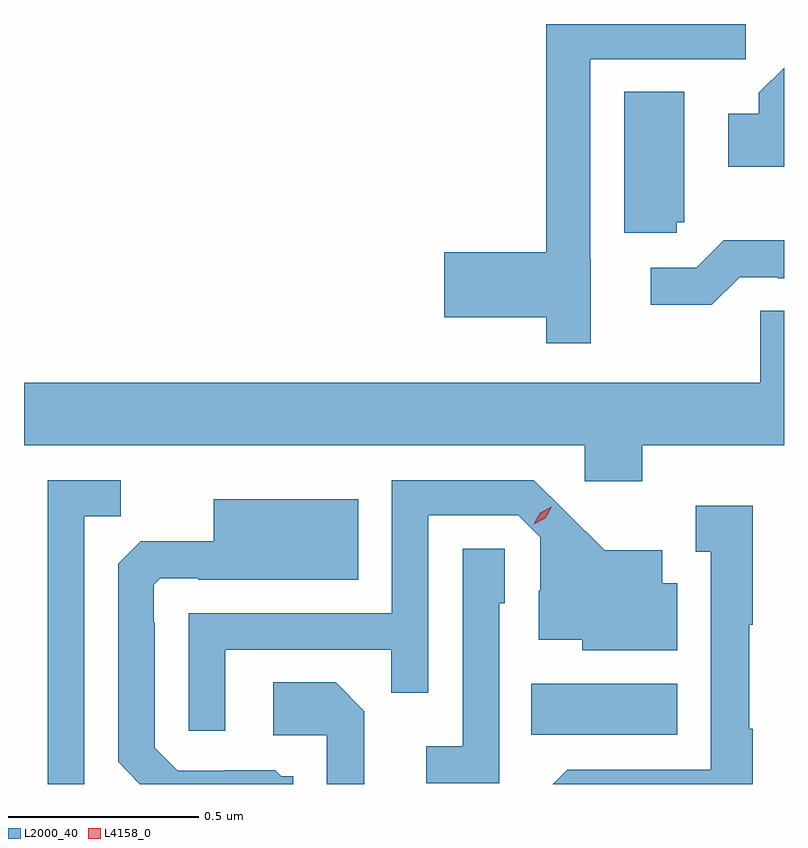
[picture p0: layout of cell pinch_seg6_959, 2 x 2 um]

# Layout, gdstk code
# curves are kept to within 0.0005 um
import gdstk
lib = gdstk.Library(unit=1e-6, precision=1e-09)
def R(c, l, rs):  # rectangles x0, y0, x1, y1
    for r in rs: c.add(gdstk.rectangle(r[:2], r[2:], *l))
def P(c, l, *ps):  # polygons
    for p in ps: c.add(gdstk.Polygon(p, *l))
L2000_40 = (2000, 40)
L4158_0 = (4158, 0)

pinch_seg6_959 = lib.new_cell('pinch_seg6_959')
R(pinch_seg6_959, L2000_40, [(346.714,934.586,347.098,934.72)])
P(pinch_seg6_959, L2000_40, [(346.87,935.838),(346.869,935.838),(346.869,936.363),(347.278,936.363),(347.278,936.456),(346.753,936.456),(346.753,935.855),(346.485,935.855),(346.485,935.684),(346.753,935.684),(346.753,935.616),(346.87,935.616)],
  [(347.379,936.341),(347.312,936.275),(347.312,936.22),(347.232,936.22),(347.232,936.08),(347.379,936.08)],
  [(347.097,935.934),(347.116,935.934),(347.116,936.278),(346.958,936.278),(346.958,935.907),(347.097,935.907)],
  [(347.262,935.79),(347.362,935.79),(347.362,935.787),(347.379,935.787),(347.379,935.887),(347.221,935.887),(347.148,935.814),(347.028,935.814),(347.028,935.717),(347.189,935.717)],
  [(347.006,935.348),(347.379,935.348),(347.379,935.702),(347.316,935.702),(347.316,935.512),(345.379,935.512),(345.379,935.348),(346.854,935.348),(346.854,935.253),(347.006,935.253)],
  [(345.537,935.161),(345.633,935.161),(345.633,935.256),(345.441,935.256),(345.441,934.456),(345.537,934.456)],
  [(345.909,934.809),(346.345,934.809),(346.345,934.696),(346.443,934.696),(346.443,935.163),(346.68,935.163),(346.737,935.106),(346.737,934.964),(346.733,934.964),(346.733,934.835),(346.848,934.835),(346.848,934.808),(347.098,934.808),(347.098,934.984),(347.059,934.984),(347.059,935.071),(346.907,935.071),(346.72,935.256),(346.347,935.256),(346.347,934.905),(345.813,934.905),(345.813,934.596),(345.909,934.596)],
  [(346.087,934.476),(346.056,934.476),(346.04,934.492),(345.906,934.492),(345.906,934.491),(345.783,934.491),(345.723,934.551),(345.723,934.88),(345.72,934.88),(345.72,934.98),(345.738,934.998),(345.838,934.998),(345.838,934.994),(346.258,934.994),(346.258,935.206),(345.878,935.206),(345.878,935.095),(345.686,935.095),(345.627,935.036),(345.627,934.514),(345.684,934.456),(346.087,934.456)],
  [(347.297,934.601),(347.287,934.601),(347.287,934.875),(347.297,934.875),(347.297,935.188),(347.147,935.188),(347.147,935.067),(347.186,935.067),(347.186,934.494),(346.809,934.494),(346.771,934.456),(347.297,934.456)],
  [(346.629,934.932),(346.644,934.932),(346.644,935.075),(346.533,935.075),(346.533,934.555),(346.437,934.555),(346.437,934.458),(346.629,934.458)],
  [(346.275,934.648),(346.199,934.724),(346.035,934.724),(346.035,934.584),(346.176,934.584),(346.176,934.456),(346.275,934.456)])
P(pinch_seg6_959, L4158_0, [(346.72,935.139),(346.72,935.14),(346.737,935.17),(346.768,935.185),(346.768,935.185),(346.768,935.185),(346.751,935.155),(346.72,935.139)])

lib.write_gds('pinch_seg6_959.gds')
